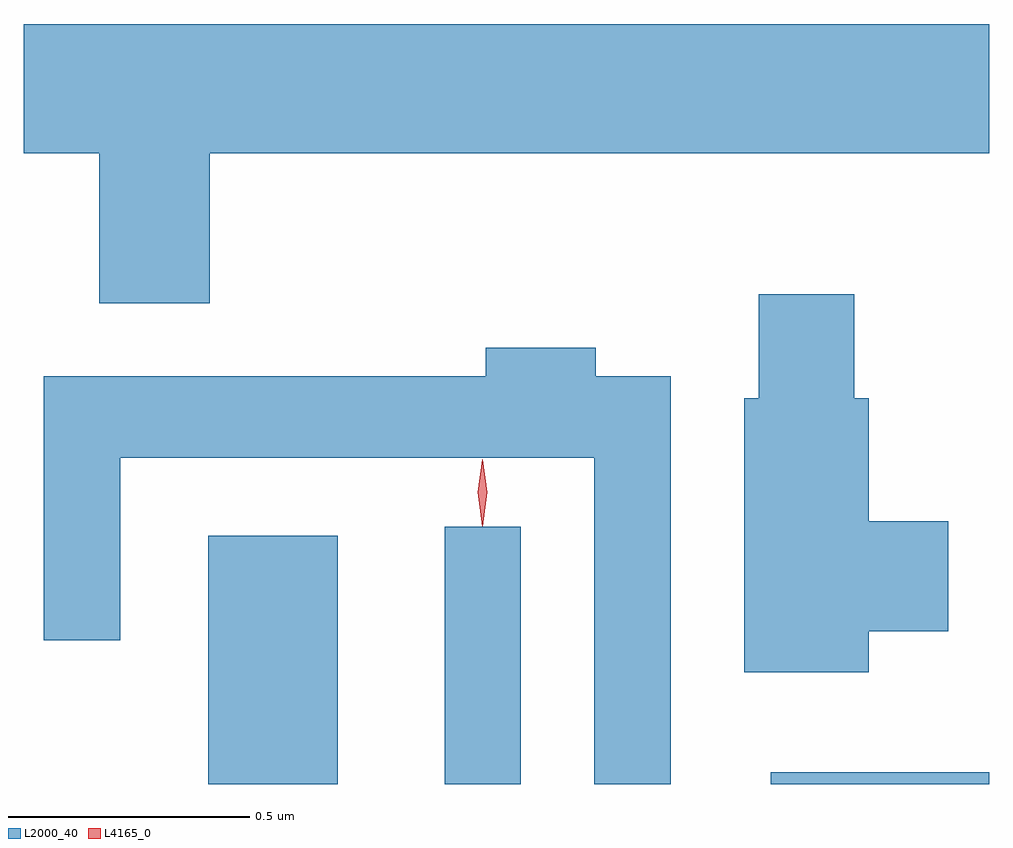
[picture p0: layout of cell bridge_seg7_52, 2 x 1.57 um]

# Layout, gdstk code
import gdstk
lib = gdstk.Library(unit=1e-6, precision=1e-09)
def R(c, l, rs):  # rectangles x0, y0, x1, y1
    for r in rs: c.add(gdstk.rectangle(r[:2], r[2:], *l))
def P(c, l, *ps):  # polygons
    for p in ps: c.add(gdstk.Polygon(p, *l))
L2000_40 = (2000, 40)
L4165_0 = (4165, 0)

bridge_seg7_52 = lib.new_cell('bridge_seg7_52')
R(bridge_seg7_52, L2000_40, [(1568.356,1781.83,1568.624,1782.344), (1568.846,1781.83,1569.004,1782.363), (1569.521,1781.83,1569.974,1781.854)])
P(bridge_seg7_52, L2000_40, [(1568.359,1783.136),(1569.974,1783.136),(1569.974,1783.404),(1567.974,1783.404),(1567.974,1783.136),(1568.131,1783.136),(1568.131,1782.826),(1568.359,1782.826)],
  [(1569.724,1782.146),(1569.889,1782.146),(1569.889,1782.374),(1569.724,1782.374),(1569.724,1782.629),(1569.694,1782.629),(1569.694,1782.844),(1569.496,1782.844),(1569.496,1782.629),(1569.466,1782.629),(1569.466,1782.061),(1569.724,1782.061)],
  [(1569.314,1782.674),(1569.159,1782.674),(1569.159,1782.734),(1568.931,1782.734),(1568.931,1782.674),(1568.016,1782.674),(1568.016,1782.128),(1568.174,1782.128),(1568.174,1782.506),(1569.156,1782.506),(1569.156,1781.83),(1569.314,1781.83)])
P(bridge_seg7_52, L4165_0, [(1568.924,1782.364),(1568.924,1782.364),(1568.914,1782.434),(1568.924,1782.502),(1568.924,1782.503),(1568.925,1782.502),(1568.934,1782.434),(1568.925,1782.364)],
  [(1568.924,1782.367),(1568.924,1782.367),(1568.914,1782.434),(1568.924,1782.5),(1568.924,1782.5),(1568.925,1782.5),(1568.934,1782.434),(1568.925,1782.367)])

lib.write_gds('bridge_seg7_52.gds')
